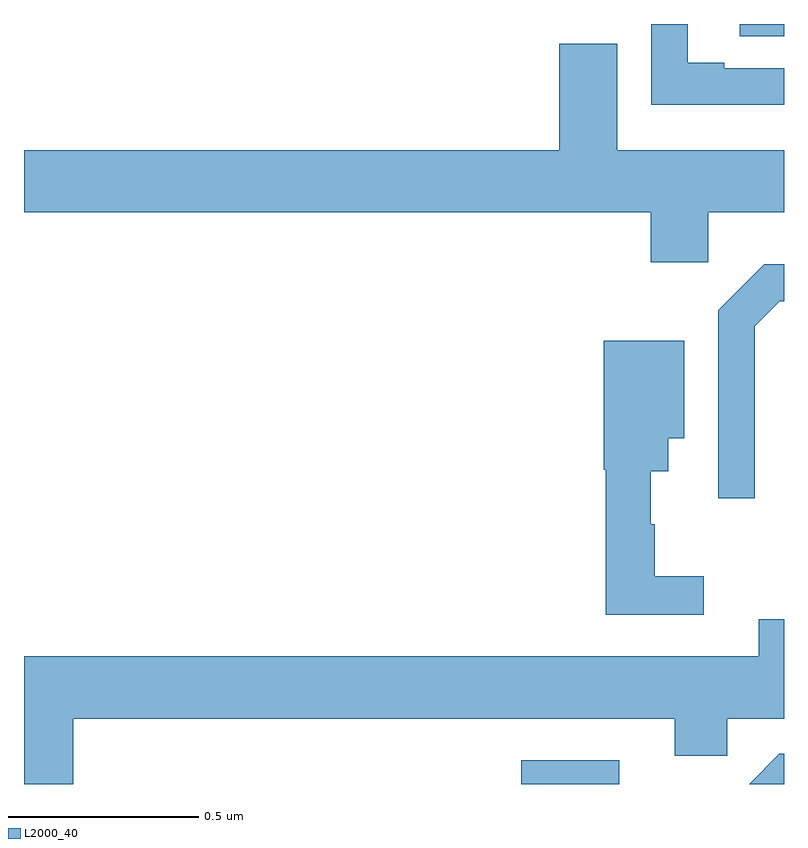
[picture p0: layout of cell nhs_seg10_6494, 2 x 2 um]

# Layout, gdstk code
import gdstk
lib = gdstk.Library(unit=1e-6, precision=1e-09)
def R(c, l, rs):  # rectangles x0, y0, x1, y1
    for r in rs: c.add(gdstk.rectangle(r[:2], r[2:], *l))
def P(c, l, *ps):  # polygons
    for p in ps: c.add(gdstk.Polygon(p, *l))
L2000_40 = (2000, 40)

nhs_seg10_6494 = lib.new_cell('nhs_seg10_6494')
R(nhs_seg10_6494, L2000_40, [(193.309,1277.5,193.567,1277.562), (193.884,1279.468,194,1279.5)])
P(nhs_seg10_6494, L2000_40, [(194,1279.383),(193.843,1279.383),(193.843,1279.398),(193.747,1279.398),(193.747,1279.5),(193.65,1279.5),(193.65,1279.287),(194,1279.287)],
  [(193.8,1279.004),(194,1279.004),(194,1279.168),(193.561,1279.168),(193.561,1279.448),(193.409,1279.448),(193.409,1279.168),(192,1279.168),(192,1279.004),(193.649,1279.004),(193.649,1278.873),(193.8,1278.873)],
  [(193.923,1278.705),(193.989,1278.771),(194,1278.771),(194,1278.868),(193.948,1278.868),(193.827,1278.747),(193.827,1278.252),(193.923,1278.252)],
  [(193.789,1278.047),(193.66,1278.047),(193.66,1278.183),(193.649,1278.183),(193.649,1278.323),(193.696,1278.323),(193.696,1278.41),(193.738,1278.41),(193.738,1278.667),(193.526,1278.667),(193.526,1278.327),(193.531,1278.327),(193.531,1277.946),(193.789,1277.946)],
  [(192.13,1277.672),(193.712,1277.672),(193.712,1277.574),(193.851,1277.574),(193.851,1277.672),(194,1277.672),(194,1277.934),(193.934,1277.934),(193.934,1277.836),(192,1277.836),(192,1277.5),(192.13,1277.5)],
  [(194,1277.58),(193.988,1277.58),(193.908,1277.5),(194,1277.5)])

lib.write_gds('nhs_seg10_6494.gds')
